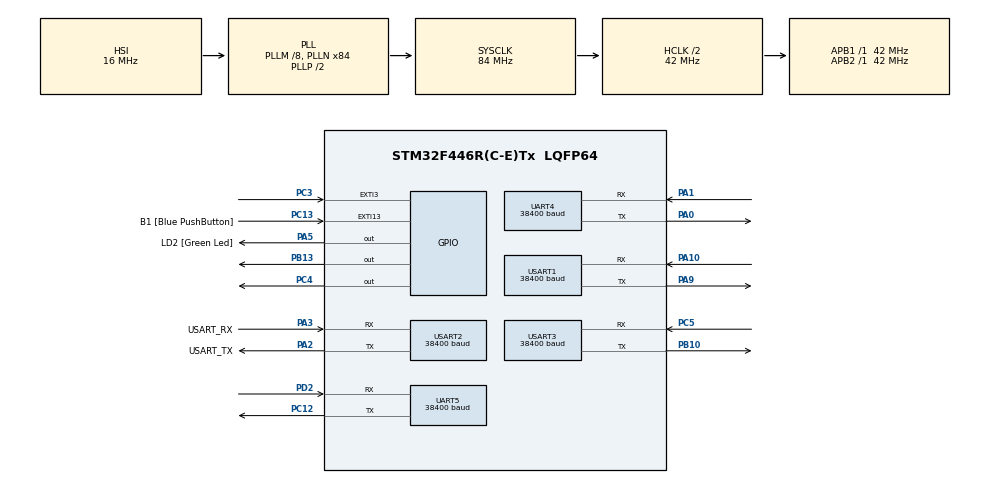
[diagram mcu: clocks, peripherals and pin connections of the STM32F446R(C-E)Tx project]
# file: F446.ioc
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Mcu.Family=STM32F4
Mcu.Name=STM32F446R(C-E)Tx
Mcu.Package=LQFP64
NVIC.EXTI3_IRQn=true\:0\:0\:false\:false\:true\:true
NVIC.PriorityGroup=NVIC_PRIORITYGROUP_0
NVIC.UART4_IRQn=true\:0\:0\:false\:false\:true\:true
NVIC.UART5_IRQn=true\:0\:0\:false\:false\:true\:true
NVIC.USART1_IRQn=true\:0\:0\:false\:false\:true\:true
NVIC.USART2_IRQn=true\:0\:0\:false\:false\:true\:true
NVIC.USART3_IRQn=true\:0\:0\:false\:false\:true\:true
PA0-WKUP.Mode=Asynchronous
PA0-WKUP.Signal=UART4_TX
PA1.Mode=Asynchronous
PA1.Signal=UART4_RX
PA10.Mode=Asynchronous
PA10.Signal=USART1_RX
PA13.GPIO_Label=TMS
PA13.Mode=Serial_Wire
PA13.Signal=SYS_JTMS-SWDIO
PA14.GPIO_Label=TCK
PA14.Mode=Serial_Wire
PA14.Signal=SYS_JTCK-SWCLK
PA2.GPIO_Label=USART_TX
PA2.Mode=Asynchronous
PA2.Signal=USART2_TX
PA3.GPIO_Label=USART_RX
PA3.Mode=Asynchronous
PA3.Signal=USART2_RX
PA5.GPIO_Label=LD2 [Green Led]
PA5.Signal=GPIO_Output
PA9.Mode=Asynchronous
PA9.Signal=USART1_TX
PB10.Mode=Asynchronous
PB10.Signal=USART3_TX
PB13.Signal=GPIO_Output
PB3.GPIO_Label=SWO
PB3.Signal=SYS_JTDO-SWO
PC12.Mode=Asynchronous
PC12.Signal=UART5_TX
PC13.GPIO_Label=B1 [Blue PushButton]
PC13.GPIO_ModeDefaultEXTI=GPIO_MODE_IT_FALLING
PC13.Signal=GPXTI13
PC14-OSC32_IN.Mode=LSE-External-Oscillator
PC14-OSC32_IN.Signal=RCC_OSC32_IN
PC15-OSC32_OUT.Mode=LSE-External-Oscillator
PC15-OSC32_OUT.Signal=RCC_OSC32_OUT
PC3.GPIO_PuPd=GPIO_PULLDOWN
PC3.Signal=GPXTI3
PC4.Signal=GPIO_Output
PC5.Mode=Asynchronous
PC5.Signal=USART3_RX
PD2.Mode=Asynchronous
PD2.Signal=UART5_RX
PH0-OSC_IN.Mode=HSE-External-Oscillator
PH0-OSC_IN.Signal=RCC_OSC_IN
PH1-OSC_OUT.Mode=HSE-External-Oscillator
PH1-OSC_OUT.Signal=RCC_OSC_OUT
ProjectManager.HeapSize=0x200
ProjectManager.StackSize=0x400
ProjectManager.TargetToolchain=SW4STM32
RCC.48MHZClocksFreq_Value=84000000
RCC.AHBCLKDivider=RCC_SYSCLK_DIV2
RCC.AHBFreq_Value=42000000
RCC.APB1Freq_Value=42000000
RCC.APB1TimFreq_Value=42000000
RCC.APB2Freq_Value=42000000
RCC.APB2TimFreq_Value=42000000
RCC.CortexFreq_Value=42000000
RCC.FLatency-AdvancedSettings=FLASH_LATENCY_1
RCC.HCLKFreq_Value=42000000
RCC.HSE_VALUE=8000000
RCC.HSI_VALUE=16000000
RCC.PLLM=8
RCC.PLLN=84
RCC.SYSCLKFreq_VALUE=84000000
RCC.SYSCLKSource=RCC_SYSCLKSOURCE_PLLCLK
RCC.USBFreq_Value=84000000
RCC.VCOOutputFreq_Value=168000000
UART4.BaudRate=38400
UART4.VirtualMode=Asynchronous
UART5.BaudRate=38400
UART5.VirtualMode=Asynchronous
USART1.BaudRate=38400
USART1.VirtualMode=VM_ASYNC
USART2.BaudRate=38400
USART2.VirtualMode=VM_ASYNC
USART3.BaudRate=38400
USART3.VirtualMode=VM_ASYNC
board=NUCLEO-F446RE

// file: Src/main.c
/* USER CODE BEGIN Header */
/**
  ******************************************************************************
  * @file           : main.c
  * @brief          : Main program body
  ******************************************************************************
  ** This notice applies to any and all portions of this file
  * that are not between comment pairs USER CODE BEGIN and
  * USER CODE END. Other portions of this file, whether
  * inserted by the user or by software development tools
  * are owned by their respective copyright owners.
  *
  * COPYRIGHT(c) 2020 STMicroelectronics
  *
  * Redistribution and use in source and binary forms, with or without modification,
  * are permitted provided that the following conditions are met:
  *   1. Redistributions of source code must retain the above copyright notice,
  *      this list of conditions and the following disclaimer.
  *   2. Redistributions in binary form must reproduce the above copyright notice,
  *      this list of conditions and the following disclaimer in the documentation
  *      and/or other materials provided with the distribution.
  *   3. Neither the name of STMicroelectronics nor the names of its contributors
  *      may be used to endorse or promote products derived from this software
  *      without specific prior written permission.
  *
  * THIS SOFTWARE IS PROVIDED BY THE COPYRIGHT HOLDERS AND CONTRIBUTORS "AS IS"
  * AND ANY EXPRESS OR IMPLIED WARRANTIES, INCLUDING, BUT NOT LIMITED TO, THE
  * IMPLIED WARRANTIES OF MERCHANTABILITY AND FITNESS FOR A PARTICULAR PURPOSE ARE
  * DISCLAIMED. IN NO EVENT SHALL THE COPYRIGHT HOLDER OR CONTRIBUTORS BE LIABLE
  * FOR ANY DIRECT, INDIRECT, INCIDENTAL, SPECIAL, EXEMPLARY, OR CONSEQUENTIAL
  * DAMAGES (INCLUDING, BUT NOT LIMITED TO, PROCUREMENT OF SUBSTITUTE GOODS OR
  * SERVICES; LOSS OF USE, DATA, OR PROFITS; OR BUSINESS INTERRUPTION) HOWEVER
  * CAUSED AND ON ANY THEORY OF LIABILITY, WHETHER IN CONTRACT, STRICT LIABILITY,
  * OR TORT (INCLUDING NEGLIGENCE OR OTHERWISE) ARISING IN ANY WAY OUT OF THE USE
  * OF THIS SOFTWARE, EVEN IF ADVISED OF THE POSSIBILITY OF SUCH DAMAGE.
  *
  ******************************************************************************
  */
/* USER CODE END Header */

#include "main.h"

/* USER CODE BEGIN PD */
uint8_t Received[5];
volatile uint8_t licznik = 0;
/* USER CODE END PD */

UART_HandleTypeDef huart4;
UART_HandleTypeDef huart5;
UART_HandleTypeDef huart1;
UART_HandleTypeDef huart2;
UART_HandleTypeDef huart3;

void SystemClock_Config(void);
static void MX_GPIO_Init(void);
static void MX_USART2_UART_Init(void);
static void MX_USART1_UART_Init(void);
static void MX_USART3_UART_Init(void);
static void MX_UART4_Init(void);
static void MX_UART5_Init(void);
/* USER CODE BEGIN PFP */
void HAL_UART_RxCpltCallback(UART_HandleTypeDef *huart) {

 uint8_t Data[40]; // Tablica przechowujaca wysylana wiadomosc.
 uint16_t size = 0;

 size = sprintf(Data, "%s", Received);

 HAL_UART_Transmit_IT(&huart2, Data, size); // Rozpoczecie nadawania danych z wykorzystaniem przerwan
 HAL_UART_Receive_IT(&huart5, Received, 4); // Ponowne w³¹czenie nas³uchiwania

 if(strcmp(Data, "info") == 0)
 		{

 		HAL_GPIO_WritePin(GPIOB, GPIO_PIN_13, GPIO_PIN_SET);
 		}
 else
 		 {
 			 HAL_GPIO_WritePin(GPIOB, GPIO_PIN_13, GPIO_PIN_RESET);
 		 }

}

void HAL_GPIO_EXTI_Callback(uint16_t GPIO_Pin){
	HAL_GPIO_TogglePin(GPIOC, GPIO_PIN_4);
	licznik = 1;
}
/* USER CODE END PFP */

int main(void)
{

  /* MCU Configuration--------------------------------------------------------*/

  /* Reset of all peripherals, Initializes the Flash interface and the Systick. */
  HAL_Init();

  /* Configure the system clock */
  SystemClock_Config();

  /* Initialize all configured peripherals */
  MX_GPIO_Init();
  MX_USART2_UART_Init();
  MX_USART1_UART_Init();
  MX_USART3_UART_Init();
  MX_UART4_Init();
  MX_UART5_Init();
  /* USER CODE BEGIN 2 */

  uint8_t configuration[] = "AT+SETPANID ABCD";
  uint8_t wiadomosc[13] = "P2P 228F info";
  uint8_t nod[13] = "P2P 228F napi";

  HAL_UART_Receive_IT(&huart5, Received, 4);
  HAL_UART_Transmit(&huart5, configuration, sizeof(configuration), 100);

  /* USER CODE END 2 */

  /* Infinite loop */
  while (1)
  {

    /* USER CODE BEGIN 3 */
	  HAL_UART_Transmit(&huart5, wiadomosc, sizeof(wiadomosc), 100);
	  HAL_Delay(1000);
	  HAL_GPIO_WritePin(GPIOA, GPIO_PIN_5, GPIO_PIN_RESET);
	  HAL_UART_Transmit(&huart5, nod, sizeof(nod), 100);
	  HAL_Delay(1000);
	  HAL_GPIO_WritePin(GPIOA, GPIO_PIN_5, GPIO_PIN_SET);

  }
  /* USER CODE END 3 */
}

void SystemClock_Config(void)
{
  RCC_OscInitTypeDef RCC_OscInitStruct = {0};
  RCC_ClkInitTypeDef RCC_ClkInitStruct = {0};

  /**Configure the main internal regulator output voltage
  */
  __HAL_RCC_PWR_CLK_ENABLE();
  __HAL_PWR_VOLTAGESCALING_CONFIG(PWR_REGULATOR_VOLTAGE_SCALE3);
  /**Initializes the CPU, AHB and APB busses clocks
  */
  RCC_OscInitStruct.OscillatorType = RCC_OSCILLATORTYPE_HSI;
  RCC_OscInitStruct.HSIState = RCC_HSI_ON;
  RCC_OscInitStruct.HSICalibrationValue = RCC_HSICALIBRATION_DEFAULT;
  RCC_OscInitStruct.PLL.PLLState = RCC_PLL_ON;
  RCC_OscInitStruct.PLL.PLLSource = RCC_PLLSOURCE_HSI;
  RCC_OscInitStruct.PLL.PLLM = 8;
  RCC_OscInitStruct.PLL.PLLN = 84;
  RCC_OscInitStruct.PLL.PLLP = RCC_PLLP_DIV2;
  RCC_OscInitStruct.PLL.PLLQ = 2;
  RCC_OscInitStruct.PLL.PLLR = 2;
  if (HAL_RCC_OscConfig(&RCC_OscInitStruct) != HAL_OK)
  {
    Error_Handler();
  }
  /**Initializes the CPU, AHB and APB busses clocks
  */
  RCC_ClkInitStruct.ClockType = RCC_CLOCKTYPE_HCLK|RCC_CLOCKTYPE_SYSCLK
                              |RCC_CLOCKTYPE_PCLK1|RCC_CLOCKTYPE_PCLK2;
  RCC_ClkInitStruct.SYSCLKSource = RCC_SYSCLKSOURCE_PLLCLK;
  RCC_ClkInitStruct.AHBCLKDivider = RCC_SYSCLK_DIV2;
  RCC_ClkInitStruct.APB1CLKDivider = RCC_HCLK_DIV1;
  RCC_ClkInitStruct.APB2CLKDivider = RCC_HCLK_DIV1;

  if (HAL_RCC_ClockConfig(&RCC_ClkInitStruct, FLASH_LATENCY_1) != HAL_OK)
  {
    Error_Handler();
  }
}

static void MX_UART4_Init(void)
{

  huart4.Instance = UART4;
  huart4.Init.BaudRate = 38400;
  huart4.Init.WordLength = UART_WORDLENGTH_8B;
  huart4.Init.StopBits = UART_STOPBITS_1;
  huart4.Init.Parity = UART_PARITY_NONE;
  huart4.Init.Mode = UART_MODE_TX_RX;
  huart4.Init.HwFlowCtl = UART_HWCONTROL_NONE;
  huart4.Init.OverSampling = UART_OVERSAMPLING_16;
  if (HAL_UART_Init(&huart4) != HAL_OK)
  {
    Error_Handler();
  }

}

static void MX_UART5_Init(void)
{

  huart5.Instance = UART5;
  huart5.Init.BaudRate = 38400;
  huart5.Init.WordLength = UART_WORDLENGTH_8B;
  huart5.Init.StopBits = UART_STOPBITS_1;
  huart5.Init.Parity = UART_PARITY_NONE;
  huart5.Init.Mode = UART_MODE_TX_RX;
  huart5.Init.HwFlowCtl = UART_HWCONTROL_NONE;
  huart5.Init.OverSampling = UART_OVERSAMPLING_16;
  if (HAL_UART_Init(&huart5) != HAL_OK)
  {
    Error_Handler();
  }

}

static void MX_USART1_UART_Init(void)
{

  huart1.Instance = USART1;
  huart1.Init.BaudRate = 38400;
  huart1.Init.WordLength = UART_WORDLENGTH_8B;
  huart1.Init.StopBits = UART_STOPBITS_1;
  huart1.Init.Parity = UART_PARITY_NONE;
  huart1.Init.Mode = UART_MODE_TX_RX;
  huart1.Init.HwFlowCtl = UART_HWCONTROL_NONE;
  huart1.Init.OverSampling = UART_OVERSAMPLING_16;
  if (HAL_UART_Init(&huart1) != HAL_OK)
  {
    Error_Handler();
  }

}

static void MX_USART2_UART_Init(void)
{

  huart2.Instance = USART2;
  huart2.Init.BaudRate = 38400;
  huart2.Init.WordLength = UART_WORDLENGTH_8B;
  huart2.Init.StopBits = UART_STOPBITS_1;
  huart2.Init.Parity = UART_PARITY_NONE;
  huart2.Init.Mode = UART_MODE_TX_RX;
  huart2.Init.HwFlowCtl = UART_HWCONTROL_NONE;
  huart2.Init.OverSampling = UART_OVERSAMPLING_16;
  if (HAL_UART_Init(&huart2) != HAL_OK)
  {
    Error_Handler();
  }

}

static void MX_USART3_UART_Init(void)
{

  huart3.Instance = USART3;
  huart3.Init.BaudRate = 38400;
  huart3.Init.WordLength = UART_WORDLENGTH_8B;
  huart3.Init.StopBits = UART_STOPBITS_1;
  huart3.Init.Parity = UART_PARITY_NONE;
  huart3.Init.Mode = UART_MODE_TX_RX;
  huart3.Init.HwFlowCtl = UART_HWCONTROL_NONE;
  huart3.Init.OverSampling = UART_OVERSAMPLING_16;
  if (HAL_UART_Init(&huart3) != HAL_OK)
  {
    Error_Handler();
  }

}

static void MX_GPIO_Init(void)
{
  GPIO_InitTypeDef GPIO_InitStruct = {0};

  /* GPIO Ports Clock Enable */
  __HAL_RCC_GPIOC_CLK_ENABLE();
  __HAL_RCC_GPIOH_CLK_ENABLE();
  __HAL_RCC_GPIOA_CLK_ENABLE();
  __HAL_RCC_GPIOB_CLK_ENABLE();
  __HAL_RCC_GPIOD_CLK_ENABLE();

  /*Configure GPIO pin Output Level */
  HAL_GPIO_WritePin(LD2_GPIO_Port, LD2_Pin, GPIO_PIN_RESET);

  /*Configure GPIO pin Output Level */
  HAL_GPIO_WritePin(GPIOC, GPIO_PIN_4, GPIO_PIN_RESET);

  /*Configure GPIO pin Output Level */
  HAL_GPIO_WritePin(GPIOB, GPIO_PIN_13, GPIO_PIN_RESET);

  /*Configure GPIO pin : B1_Pin */
  GPIO_InitStruct.Pin = B1_Pin;
  GPIO_InitStruct.Mode = GPIO_MODE_IT_FALLING;
  GPIO_InitStruct.Pull = GPIO_NOPULL;
  HAL_GPIO_Init(B1_GPIO_Port, &GPIO_InitStruct);

  /*Configure GPIO pin : PC3 */
  GPIO_InitStruct.Pin = GPIO_PIN_3;
  GPIO_InitStruct.Mode = GPIO_MODE_IT_RISING;
  GPIO_InitStruct.Pull = GPIO_PULLDOWN;
  HAL_GPIO_Init(GPIOC, &GPIO_InitStruct);

  /*Configure GPIO pin : LD2_Pin */
  GPIO_InitStruct.Pin = LD2_Pin;
  GPIO_InitStruct.Mode = GPIO_MODE_OUTPUT_PP;
  GPIO_InitStruct.Pull = GPIO_NOPULL;
  GPIO_InitStruct.Speed = GPIO_SPEED_FREQ_LOW;
  HAL_GPIO_Init(LD2_GPIO_Port, &GPIO_InitStruct);

  /*Configure GPIO pin : PC4 */
  GPIO_InitStruct.Pin = GPIO_PIN_4;
  GPIO_InitStruct.Mode = GPIO_MODE_OUTPUT_PP;
  GPIO_InitStruct.Pull = GPIO_NOPULL;
  GPIO_InitStruct.Speed = GPIO_SPEED_FREQ_LOW;
  HAL_GPIO_Init(GPIOC, &GPIO_InitStruct);

  /*Configure GPIO pin : PB13 */
  GPIO_InitStruct.Pin = GPIO_PIN_13;
  GPIO_InitStruct.Mode = GPIO_MODE_OUTPUT_PP;
  GPIO_InitStruct.Pull = GPIO_NOPULL;
  GPIO_InitStruct.Speed = GPIO_SPEED_FREQ_LOW;
  HAL_GPIO_Init(GPIOB, &GPIO_InitStruct);

  /* EXTI interrupt init*/
  HAL_NVIC_SetPriority(EXTI3_IRQn, 0, 0);
  HAL_NVIC_EnableIRQ(EXTI3_IRQn);

}

void Error_Handler(void)
{
}

/************************ (C) COPYRIGHT STMicroelectronics *****END OF FILE****/
